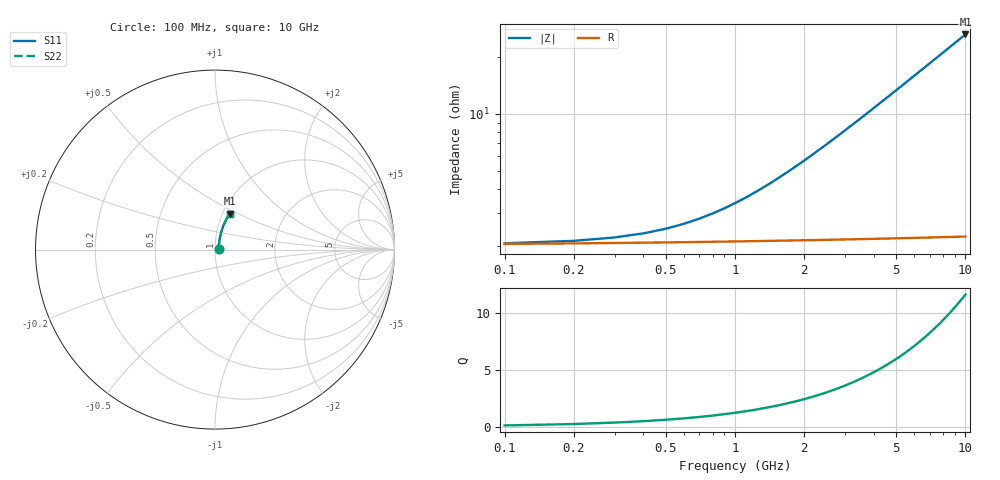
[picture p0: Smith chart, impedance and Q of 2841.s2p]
# Hz S RI R 50.00
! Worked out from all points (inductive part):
!   100 points, 100 MHz to 10 GHz, reference 50 ohm
!   read as one part in series: L = 418 pH near 2.5 GHz
!   highest Q = 11.6 at 10 GHz (marker M1), where L = 416 pH
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1e8  0.0202 0.00216  0.9798 -0.00289  0.9798 -0.00289  0.0202 0.00216
2e8  0.0203 0.00432  0.9797 -0.00577  0.9797 -0.00577  0.0203 0.00432
3e8  0.0205 0.00648  0.9795 -0.00866  0.9795 -0.00866  0.0205 0.00648
5e8  0.0207 0.0108  0.9793 -0.0144  0.9793 -0.0144  0.0207 0.0108
7e8  0.021 0.0151  0.979 -0.0202  0.979 -0.0202  0.021 0.0151
1.3e9  0.022 0.028  0.978 -0.0375  0.978 -0.0375  0.022 0.028
1.6e9  0.0226 0.0345  0.9773 -0.0461  0.9773 -0.0461  0.0226 0.0345
1.8e9  0.0231 0.0387  0.9768 -0.0518  0.9768 -0.0518  0.0231 0.0387
2.1e9  0.0239 0.0452  0.976 -0.0604  0.976 -0.0604  0.0239 0.0452
2.5e9  0.0252 0.0537  0.9747 -0.0718  0.9747 -0.0718  0.0252 0.0537
2.9e9  0.0266 0.0622  0.9732 -0.0832  0.9732 -0.0832  0.0266 0.0622
3.4e9  0.0287 0.0727  0.971 -0.0974  0.971 -0.0974  0.0287 0.0727
3.8e9  0.0305 0.0811  0.969 -0.1087  0.969 -0.1087  0.0305 0.0811
4.2e9  0.0326 0.0894  0.9669 -0.1199  0.9669 -0.1199  0.0326 0.0894
4.6e9  0.0349 0.0976  0.9646 -0.131  0.9646 -0.131  0.0349 0.0976
5.1e9  0.0379 0.1078  0.9614 -0.1449  0.9614 -0.1449  0.0379 0.1078
5.9e9  0.0434 0.1239  0.9556 -0.1668  0.9556 -0.1668  0.0434 0.1239
6.7e9  0.0496 0.1397  0.9491 -0.1884  0.9491 -0.1884  0.0496 0.1397
7.5e9  0.0565 0.155  0.9419 -0.2096  0.9419 -0.2096  0.0565 0.155
8.4e9  0.0651 0.1718  0.933 -0.2329  0.933 -0.2329  0.0651 0.1718
9.2e9  0.0733 0.1863  0.9243 -0.2532  0.9243 -0.2532  0.0733 0.1863
1e10  0.0822 0.2002  0.9151 -0.273  0.9151 -0.273  0.0822 0.2002
